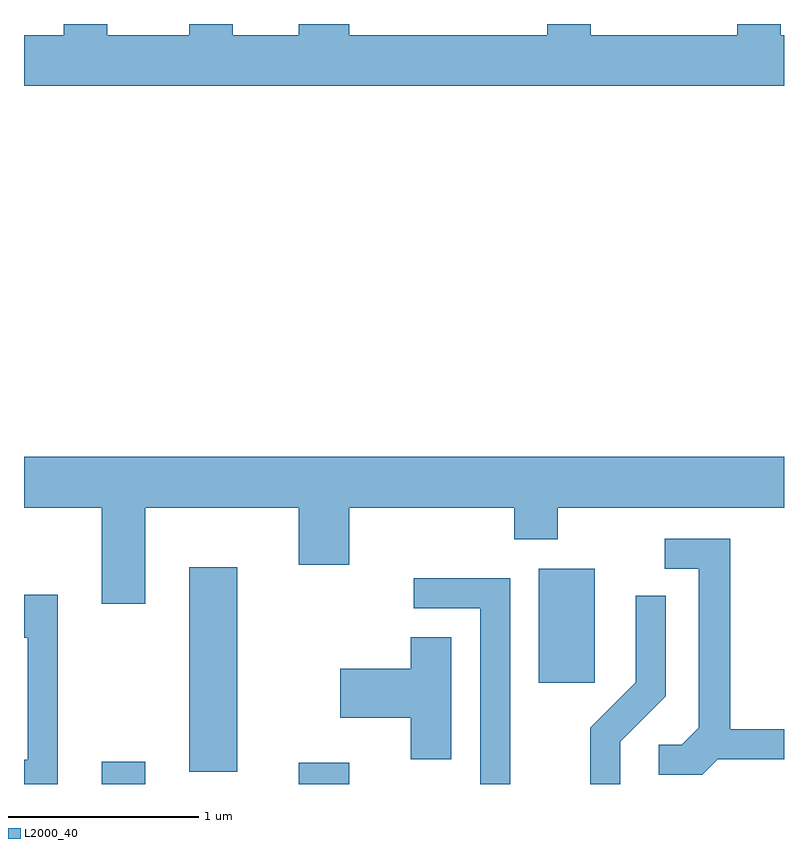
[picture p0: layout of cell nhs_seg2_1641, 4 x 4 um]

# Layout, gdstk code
import gdstk
lib = gdstk.Library(unit=1e-6, precision=1e-09)
def R(c, l, rs):  # rectangles x0, y0, x1, y1
    for r in rs: c.add(gdstk.rectangle(r[:2], r[2:], *l))
def P(c, l, *ps):  # polygons
    for p in ps: c.add(gdstk.Polygon(p, *l))
L2000_40 = (2000, 40)

nhs_seg2_1641 = lib.new_cell('nhs_seg2_1641')
R(nhs_seg2_1641, L2000_40, [(234.021,995.802,234.249,995.919), (235.056,995.802,235.324,995.914), (234.481,995.866,234.734,996.944), (236.321,996.336,236.614,996.934)])
P(nhs_seg2_1641, L2000_40, [(237.611,999.744),(237.594,999.744),(237.594,999.802),(237.366,999.802),(237.366,999.744),(236.594,999.744),(236.594,999.802),(236.366,999.802),(236.366,999.744),(235.324,999.744),(235.324,999.802),(235.056,999.802),(235.056,999.744),(234.709,999.744),(234.709,999.802),(234.481,999.802),(234.481,999.744),(234.049,999.744),(234.049,999.802),(233.821,999.802),(233.821,999.744),(233.611,999.744),(233.611,999.476),(237.611,999.476)],
  [(234.249,997.256),(235.056,997.256),(235.056,996.956),(235.324,996.956),(235.324,997.256),(236.191,997.256),(236.191,997.091),(236.419,997.091),(236.419,997.256),(237.611,997.256),(237.611,997.524),(233.611,997.524),(233.611,997.256),(234.021,997.256),(234.021,996.751),(234.249,996.751)],
  [(237.262,995.931),(237.611,995.931),(237.611,996.089),(237.329,996.089),(237.329,997.094),(236.983,997.094),(236.983,996.936),(237.161,996.936),(237.161,996.097),(237.074,996.009),(236.953,996.009),(236.953,995.851),(237.182,995.851)],
  [(236.169,996.884),(235.663,996.884),(235.663,996.726),(236.011,996.726),(236.011,995.802),(236.169,995.802)],
  [(233.789,996.799),(233.611,996.799),(233.611,996.571),(233.631,996.571),(233.631,995.929),(233.611,995.929),(233.611,995.802),(233.789,995.802)],
  [(236.749,996.024),(236.989,996.264),(236.989,996.793),(236.831,996.793),(236.831,996.337),(236.591,996.097),(236.591,995.802),(236.749,995.802)],
  [(235.859,996.574),(235.646,996.574),(235.646,996.409),(235.276,996.409),(235.276,996.151),(235.646,996.151),(235.646,995.931),(235.859,995.931)])

lib.write_gds('nhs_seg2_1641.gds')
